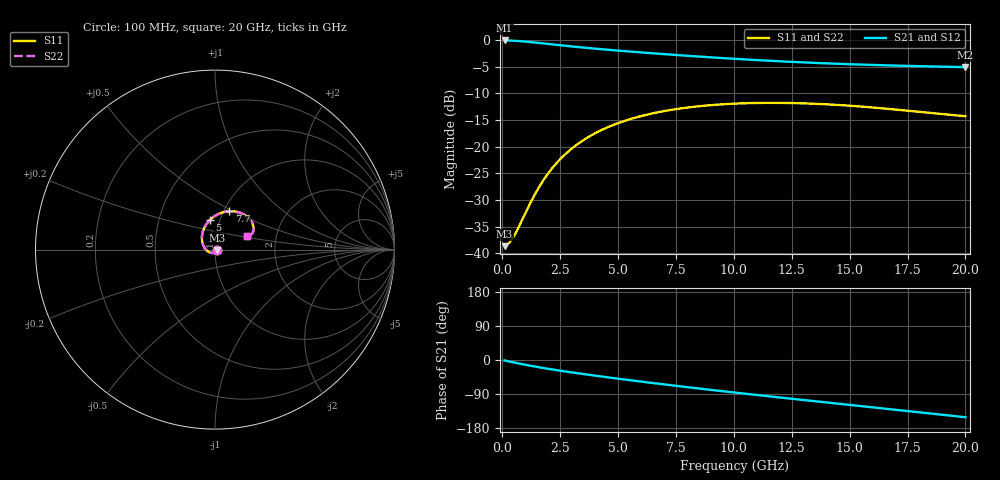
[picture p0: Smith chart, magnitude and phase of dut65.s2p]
! Created with skrf 1.9.0 (http://scikit-rf.org).
# GHz S RI R 50.0
!freq ReS11 ImS11 ReS21 ImS21 ReS12 ImS12 ReS22 ImS22
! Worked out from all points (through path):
!   200 points, 100 MHz to 20 GHz, reference 50 ohm
!   highest |S21| = -0.10 dB at 100 MHz (marker M1); lowest = -5.1 dB at 20 GHz (marker M2)
!   group delay of S21, straight-line fit = 19.9 ps
!   lowest |S11| = -38.6 dB at 100 MHz (marker M3), VSWR 1.02, Z = 51.1 - j0.303 ohm
!   |S11| at or under -10 dB: start of sweep to end of sweep
!   |S22| runs from -38.6 to -11.8 dB; largest |S21 - S12| = 2.5e-15
!   S11 on the Smith chart (normalised r, x): 100 MHz: 1.02, -0.01; 5 GHz: 0.89, +0.30; 7.7 GHz: 1.06, +0.48; 20 GHz: 1.41, +0.23
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0.1  0.0113 -0.00296  0.9878 -0.0227  0.9878 -0.0227  0.0113 -0.00296
0.3  0.00904 -0.00879  0.9835 -0.0675  0.9835 -0.0675  0.00904 -0.00879
0.5  0.00451 -0.0138  0.9752 -0.111  0.9752 -0.111  0.00451 -0.0138
1.4  -0.0326 -0.0141  0.9032 -0.2795  0.9032 -0.2795  -0.0326 -0.0141
1.7  -0.0455 -0.00515  0.8721 -0.3245  0.8721 -0.3245  -0.0455 -0.00515
2  -0.0565 0.00735  0.8397 -0.3645  0.8397 -0.3645  -0.0565 0.00735
2.3  -0.0648 0.0224  0.8068 -0.4001  0.8068 -0.4001  -0.0648 0.0224
2.7  -0.0714 0.0448  0.7629 -0.442  0.7629 -0.442  -0.0714 0.0448
3.5  -0.0699 0.0915  0.6762 -0.5109  0.6762 -0.5109  -0.0699 0.0915
4.2  -0.056 0.1287  0.6017 -0.5587  0.6017 -0.5587  -0.056 0.1287
5  -0.0304 0.1633  0.5179 -0.6017  0.5179 -0.6017  -0.0304 0.1633
5.9  0.0051 0.191  0.4255 -0.6371  0.4255 -0.6371  0.0051 0.191
6.8  0.0429 0.2073  0.3359 -0.6601  0.3359 -0.6601  0.0429 0.2073
7.7  0.0798 0.2137  0.2498 -0.6722  0.2498 -0.6722  0.0798 0.2137
8.9  0.1239 0.21  0.1416 -0.674  0.1416 -0.674  0.1239 0.21
10.1  0.1598 0.1966  0.0418 -0.6622  0.0418 -0.6622  0.1598 0.1966
11.7  0.1933 0.17  -0.0782 -0.63  -0.0782 -0.63  0.1933 0.17
13.4  0.2116 0.1385  -0.1903 -0.5798  -0.1903 -0.5798  0.2116 0.1385
15  0.2148 0.1114  -0.2823 -0.5202  -0.2823 -0.5202  0.2148 0.1114
16.7  0.2071 0.0898  -0.3664 -0.4454  -0.3664 -0.4454  0.2071 0.0898
18.4  0.1924 0.0785  -0.4359 -0.3594  -0.4359 -0.3594  0.1924 0.0785
20  0.1766 0.0783  -0.4867 -0.269  -0.4867 -0.269  0.1766 0.0783
